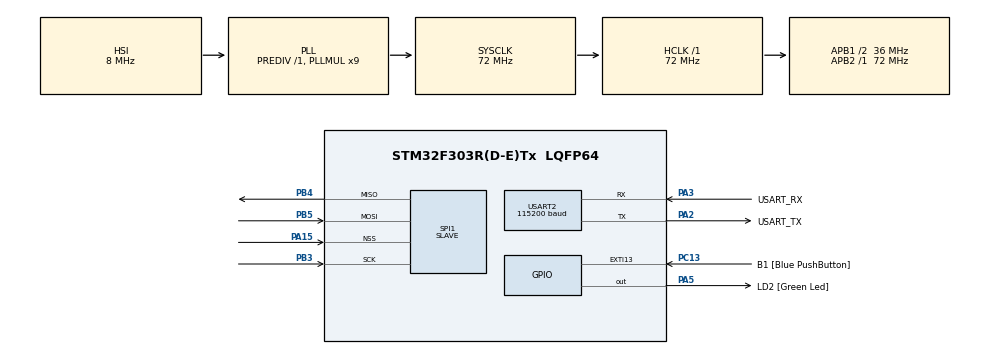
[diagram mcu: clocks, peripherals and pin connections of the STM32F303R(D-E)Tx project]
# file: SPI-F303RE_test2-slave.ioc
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Mcu.Family=STM32F3
Mcu.Name=STM32F303R(D-E)Tx
Mcu.Package=LQFP64
NVIC.PriorityGroup=NVIC_PRIORITYGROUP_0
PA13.GPIO_Label=TMS
PA13.Mode=Serial_Wire
PA13.Signal=SYS_JTMS-SWDIO
PA14.GPIO_Label=TCK
PA14.Mode=Serial_Wire
PA14.Signal=SYS_JTCK-SWCLK
PA15.Mode=NSS_Signal_Hard_Input
PA15.Signal=SPI1_NSS
PA2.GPIO_Label=USART_TX
PA2.GPIO_Mode=GPIO_MODE_AF_PP
PA2.GPIO_PuPd=GPIO_NOPULL
PA2.GPIO_Speed=GPIO_SPEED_FREQ_LOW
PA2.Mode=Asynchronous
PA2.Signal=USART2_TX
PA3.GPIO_Label=USART_RX
PA3.GPIO_Mode=GPIO_MODE_AF_PP
PA3.GPIO_PuPd=GPIO_NOPULL
PA3.GPIO_Speed=GPIO_SPEED_FREQ_LOW
PA3.Mode=Asynchronous
PA3.Signal=USART2_RX
PA5.GPIO_Label=LD2 [Green Led]
PA5.GPIO_Mode=GPIO_MODE_OUTPUT_PP
PA5.GPIO_PuPd=GPIO_NOPULL
PA5.GPIO_Speed=GPIO_SPEED_FREQ_LOW
PA5.Signal=GPIO_Output
PB3.Mode=Full_Duplex_Slave
PB3.Signal=SPI1_SCK
PB4.Mode=Full_Duplex_Slave
PB4.Signal=SPI1_MISO
PB5.Mode=Full_Duplex_Slave
PB5.Signal=SPI1_MOSI
PC13.GPIO_Label=B1 [Blue PushButton]
PC13.GPIO_ModeDefaultEXTI=GPIO_MODE_IT_FALLING
PC13.Signal=GPXTI13
ProjectManager.HeapSize=0x200
ProjectManager.StackSize=0x400
ProjectManager.TargetToolchain=Makefile
RCC.AHBFreq_Value=72000000
RCC.APB1CLKDivider=RCC_HCLK_DIV2
RCC.APB1Freq_Value=36000000
RCC.APB1TimFreq_Value=72000000
RCC.APB2Freq_Value=72000000
RCC.APB2TimFreq_Value=72000000
RCC.CortexFreq_Value=72000000
RCC.HCLKFreq_Value=72000000
RCC.HSE_VALUE=8000000
RCC.HSI_VALUE=8000000
RCC.LSE_VALUE=32768
RCC.PLLM=8
RCC.PLLMUL=RCC_PLL_MUL9
RCC.PLLN=336
RCC.PLLP=RCC_PLLP_DIV4
RCC.PLLQ=7
RCC.RCC_PLLsource_Clock_Source_FROM_HSE=RCC_HSE_PREDIV_DIV2
RCC.SYSCLKFreq_VALUE=72000000
RCC.SYSCLKSourceVirtual=RCC_SYSCLKSOURCE_PLLCLK
RCC.USBFreq_Value=72000000
SPI1.CLKPhase=SPI_PHASE_2EDGE
SPI1.DataSize=SPI_DATASIZE_8BIT
SPI1.Direction=SPI_DIRECTION_2LINES
SPI1.FirstBit=SPI_FIRSTBIT_LSB
SPI1.Mode=SPI_MODE_SLAVE
SPI1.VirtualNSS=VM_NSSHARD
SPI1.VirtualType=VM_SLAVE
USART2.BaudRate=115200
USART2.VirtualMode-Asynchronous=VM_ASYNC
board=NUCLEO-F303RE

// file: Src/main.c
/* USER CODE BEGIN Header */
/**
  ******************************************************************************
  * @file           : main.c
  * @brief          : Main program body
  ******************************************************************************
  * @attention
  *
  * <h2><center>&copy; Copyright (c) 2019 STMicroelectronics.
  * All rights reserved.</center></h2>
  *
  * This software component is licensed by ST under BSD 3-Clause license,
  * the "License"; You may not use this file except in compliance with the
  * License. You may obtain a copy of the License at:
  *                        opensource.org/licenses/BSD-3-Clause
  *
  ******************************************************************************
  */
/* USER CODE END Header */

#include "main.h"
#include "spi.h"
#include "usart.h"
#include "gpio.h"

/* USER CODE BEGIN Includes */
#include <stdbool.h>
/* USER CODE END Includes */

void SystemClock_Config(void);

/* USER CODE BEGIN 0 */
bool SPI_TransmitReceiveWithSync(SPI_HandleTypeDef *hspi, uint8_t *pTxData, uint8_t *pRxData, uint16_t Size, uint32_t Timeout)
{
    hspi->ErrorCode   = HAL_SPI_ERROR_NONE;
    hspi->pRxBuffPtr  = (uint8_t *)pRxData;
    hspi->RxXferCount = Size;
    hspi->RxXferSize  = Size;
    hspi->pTxBuffPtr  = (uint8_t *)pTxData;
    hspi->TxXferCount = Size;
    hspi->TxXferSize  = Size;

      /*Init field not used in handle to zero */
    hspi->RxISR       = NULL;
    hspi->TxISR       = NULL;

      /* Check if the SPI is already enabled */
    if ((hspi->Instance->CR1 &SPI_CR1_SPE) != SPI_CR1_SPE)
    {
      /* Enable SPI peripheral */
        __HAL_SPI_ENABLE(hspi);
    }

    int txallowed = 1;
    if ((hspi->Init.Mode == SPI_MODE_SLAVE) || (hspi->TxXferCount == 0x01U))
    {
        *((__IO uint8_t*)&hspi->Instance->DR) = (*pTxData);
        pTxData += sizeof(uint8_t);
        hspi->TxXferCount--;
    }
    while ((hspi->TxXferCount > 0U) || (hspi->RxXferCount > 0U))
    {
      /* check TXE flag */
        if (txallowed && (hspi->TxXferCount > 0U) && (__HAL_SPI_GET_FLAG(hspi, SPI_FLAG_TXE)))
        {
            *(__IO uint8_t *)&hspi->Instance->DR = (*pTxData++);
            hspi->TxXferCount--;
            /* Next Data is a reception (Rx). Tx not allowed */
            txallowed = 0U;
        }

              /* Wait until RXNE flag is reset */
        if ((hspi->RxXferCount > 0U) && (__HAL_SPI_GET_FLAG(hspi, SPI_FLAG_RXNE)))
        {
            (*(uint8_t *)pRxData++) = hspi->Instance->DR;
            hspi->RxXferCount--;
            /* Next Data is a Transmission (Tx). Tx is allowed */
            txallowed = 1U;
        }

        if (HAL_GPIO_ReadPin(GPIOA, GPIO_PIN_15))
            return 0;
    }
    return 1;
}
/* USER CODE END 0 */

int main(void)
{

  /* MCU Configuration--------------------------------------------------------*/

  /* Reset of all peripherals, Initializes the Flash interface and the Systick. */
  HAL_Init();

  /* Configure the system clock */
  SystemClock_Config();

  /* Initialize all configured peripherals */
  MX_GPIO_Init();
  MX_USART2_UART_Init();
  MX_SPI1_Init();
  /* USER CODE BEGIN 2 */
  uint8_t input, output = 0;
  uint8_t rX_data = 0;
  uint8_t tX_data = 0;
  /* USER CODE END 2 */

  /* Infinite loop */
  /* USER CODE BEGIN WHILE */
  while (1)
  {
    for (;;)
    {
      //SPI_TransmitReceiveWithSync(&hspi1, (uint8_t *)&output, (uint8_t*)&input, sizeof(input), HAL_MAX_DELAY);
      HAL_SPI_Receive(&hspi1, &rX_data, sizeof(rX_data), HAL_MAX_DELAY);
      tX_data = rX_data;
      HAL_SPI_Transmit(&hspi1, &tX_data, sizeof(tX_data), HAL_MAX_DELAY);
      //HAL_SPI_TransmitReceive(&hspi1, (uint8_t *)&output, (uint8_t*)&input, sizeof(input), HAL_MAX_DELAY);
      //output = input;
    }
    /* USER CODE END WHILE */

  }
}

void SystemClock_Config(void)
{
  RCC_OscInitTypeDef RCC_OscInitStruct = {0};
  RCC_ClkInitTypeDef RCC_ClkInitStruct = {0};
  RCC_PeriphCLKInitTypeDef PeriphClkInit = {0};

  /** Initializes the CPU, AHB and APB busses clocks
  */
  RCC_OscInitStruct.OscillatorType = RCC_OSCILLATORTYPE_HSI;
  RCC_OscInitStruct.HSIState = RCC_HSI_ON;
  RCC_OscInitStruct.HSICalibrationValue = RCC_HSICALIBRATION_DEFAULT;
  RCC_OscInitStruct.PLL.PLLState = RCC_PLL_ON;
  RCC_OscInitStruct.PLL.PLLSource = RCC_PLLSOURCE_HSI;
  RCC_OscInitStruct.PLL.PLLMUL = RCC_PLL_MUL9;
  RCC_OscInitStruct.PLL.PREDIV = RCC_PREDIV_DIV1;
  if (HAL_RCC_OscConfig(&RCC_OscInitStruct) != HAL_OK)
  {
    Error_Handler();
  }
  /** Initializes the CPU, AHB and APB busses clocks
  */
  RCC_ClkInitStruct.ClockType = RCC_CLOCKTYPE_HCLK|RCC_CLOCKTYPE_SYSCLK
                              |RCC_CLOCKTYPE_PCLK1|RCC_CLOCKTYPE_PCLK2;
  RCC_ClkInitStruct.SYSCLKSource = RCC_SYSCLKSOURCE_PLLCLK;
  RCC_ClkInitStruct.AHBCLKDivider = RCC_SYSCLK_DIV1;
  RCC_ClkInitStruct.APB1CLKDivider = RCC_HCLK_DIV2;
  RCC_ClkInitStruct.APB2CLKDivider = RCC_HCLK_DIV1;

  if (HAL_RCC_ClockConfig(&RCC_ClkInitStruct, FLASH_LATENCY_2) != HAL_OK)
  {
    Error_Handler();
  }
  PeriphClkInit.PeriphClockSelection = RCC_PERIPHCLK_USART2;
  PeriphClkInit.Usart2ClockSelection = RCC_USART2CLKSOURCE_PCLK1;
  if (HAL_RCCEx_PeriphCLKConfig(&PeriphClkInit) != HAL_OK)
  {
    Error_Handler();
  }
}

void Error_Handler(void)
{
}

/************************ (C) COPYRIGHT STMicroelectronics *****END OF FILE****/
